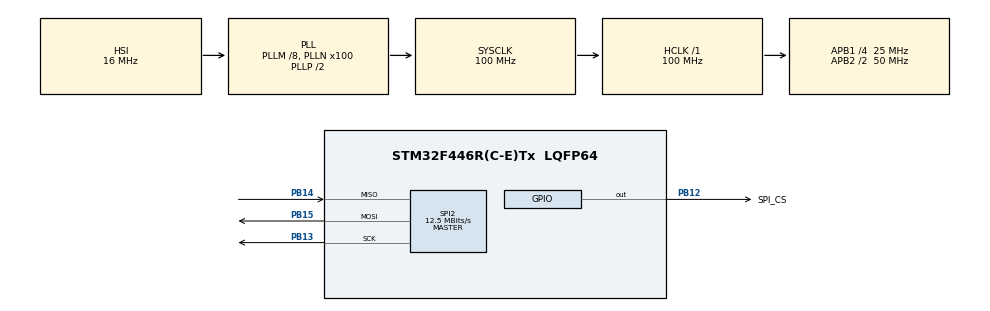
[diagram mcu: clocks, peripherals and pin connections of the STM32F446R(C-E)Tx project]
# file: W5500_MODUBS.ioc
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Mcu.Family=STM32F4
Mcu.Name=STM32F446R(C-E)Tx
Mcu.Package=LQFP64
NVIC.PriorityGroup=NVIC_PRIORITYGROUP_4
PA13.Mode=Serial_Wire
PA13.Signal=SYS_JTMS-SWDIO
PA14.Mode=Serial_Wire
PA14.Signal=SYS_JTCK-SWCLK
PB12.GPIO_Label=SPI_CS
PB12.Signal=GPIO_Output
PB13.Mode=Full_Duplex_Master
PB13.Signal=SPI2_SCK
PB14.Mode=Full_Duplex_Master
PB14.Signal=SPI2_MISO
PB15.Mode=Full_Duplex_Master
PB15.Signal=SPI2_MOSI
PH0-OSC_IN.Mode=HSE-External-Oscillator
PH0-OSC_IN.Signal=RCC_OSC_IN
PH1-OSC_OUT.Mode=HSE-External-Oscillator
PH1-OSC_OUT.Signal=RCC_OSC_OUT
ProjectManager.HeapSize=0x200
ProjectManager.StackSize=0x400
ProjectManager.TargetToolchain=STM32CubeIDE
RCC.AHBFreq_Value=100000000
RCC.APB1CLKDivider=RCC_HCLK_DIV4
RCC.APB1Freq_Value=25000000
RCC.APB1TimFreq_Value=50000000
RCC.APB2CLKDivider=RCC_HCLK_DIV2
RCC.APB2Freq_Value=50000000
RCC.APB2TimFreq_Value=100000000
RCC.CortexFreq_Value=100000000
RCC.HCLKFreq_Value=100000000
RCC.HSE_VALUE=8000000
RCC.PLLM=8
RCC.PLLN=100
RCC.SYSCLKFreq_VALUE=100000000
RCC.SYSCLKSource=RCC_SYSCLKSOURCE_PLLCLK
RCC.USBFreq_Value=100000000
RCC.VCOOutputFreq_Value=200000000
SPI2.CalculateBaudRate=12.5 MBits/s
SPI2.Direction=SPI_DIRECTION_2LINES
SPI2.Mode=SPI_MODE_MASTER
SPI2.VirtualType=VM_MASTER
board=custom

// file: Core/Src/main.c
/* USER CODE BEGIN Header */
/**
  ******************************************************************************
  * @file           : main.c
  * @brief          : Main program body
  ******************************************************************************
  * @attention
  *
  * Copyright (c) 2023 STMicroelectronics.
  * All rights reserved.
  *
  * This software is licensed under terms that can be found in the LICENSE file
  * in the root directory of this software component.
  * If no LICENSE file comes with this software, it is provided AS-IS.
  *
  ******************************************************************************
  */
/* USER CODE END Header */
#include "main.h"

/* USER CODE BEGIN Includes */
#include "stdlib.h"
#include "stdio.h"
#include "string.h"
/* USER CODE END Includes */

/* USER CODE BEGIN PTD */
#include "socket.h"
#include "wizchip_conf.h"

/* USER CODE END PTD */

 SPI_HandleTypeDef hspi2;

void SystemClock_Config(void);
static void MX_GPIO_Init(void);
static void MX_SPI2_Init(void);

/* USER CODE BEGIN 0 */
static void Eth_network_init(void)
{
	//printf("wizchip_sw_reset W5500 ");
	//wizchip_sw_reset();
	//delay(1000);
	uint8_t memsize[2][8] = {{16,0,0,0,0,0,0,0},{16,0,0,0,0,0,0,0}};
	if(ctlwizchip(CW_INIT_WIZCHIP,(void*)memsize) == -1)
	{
       printf("WIZCHIP Initialized memmory fail.\r\n");
	}
	printf("WIZCHIP Initialized memmory done.\r\n");
    wiz_NetInfo gWIZNETINFO = { .mac = {0x00, 0x08, 0xdc,0x00, 0xab, 0xcd},
                            .ip = {192, 168, 1,2},
                            .sn = {255,255,255,0},
                            .gw = {192, 168, 1, 108},
                            .dns = {0,0,0,0},
                            .dhcp = NETINFO_STATIC };
    gWIZNETINFO.ip[3]=123;
    printf("gWIZNETINFO.ip[3]:%d\n",gWIZNETINFO.ip[3]);
    uint8_t tmpstr[6];
	ctlnetwork(CN_SET_NETINFO, (void*)&gWIZNETINFO);

	gWIZNETINFO.ip[3]=0;
	ctlnetwork(CN_GET_NETINFO, (void*)&gWIZNETINFO);

	wiz_NetTimeout gWIZNETTIME = {.retry_cnt = 6,         //RCR = 3
                               .time_100us = 3000};     //RTR = 2000
	ctlnetwork(CN_SET_TIMEOUT,(void*)&gWIZNETTIME);

	// Display Network Information
	ctlwizchip(CW_GET_ID,(void*)tmpstr);
	printf("\r\n=== %s NET CONF ===\r\n",(char*)tmpstr);
	printf("MAC: %02X:%02X:%02X:%02X:%02X:%02X\r\n",gWIZNETINFO.mac[0],gWIZNETINFO.mac[1],gWIZNETINFO.mac[2],
		  gWIZNETINFO.mac[3],gWIZNETINFO.mac[4],gWIZNETINFO.mac[5]);
	printf("SIP: %d.%d.%d.%d\r\n", gWIZNETINFO.ip[0],gWIZNETINFO.ip[1],gWIZNETINFO.ip[2],gWIZNETINFO.ip[3]);
	printf("GAR: %d.%d.%d.%d\r\n", gWIZNETINFO.gw[0],gWIZNETINFO.gw[1],gWIZNETINFO.gw[2],gWIZNETINFO.gw[3]);
	printf("SUB: %d.%d.%d.%d\r\n", gWIZNETINFO.sn[0],gWIZNETINFO.sn[1],gWIZNETINFO.sn[2],gWIZNETINFO.sn[3]);
	printf("DNS: %d.%d.%d.%d\r\n", gWIZNETINFO.dns[0],gWIZNETINFO.dns[1],gWIZNETINFO.dns[2],gWIZNETINFO.dns[3]);
	printf("======================\r\n");
}

void  wizchip_select(void)
{
   HAL_GPIO_WritePin(SPI_CS_GPIO_Port, SPI_CS_Pin, GPIO_PIN_RESET);
}

void  wizchip_deselect(void)
{
	HAL_GPIO_WritePin(SPI_CS_GPIO_Port, SPI_CS_Pin, GPIO_PIN_SET);
}

void  wizchip_write(uint8_t wb)
{
	HAL_SPI_Transmit(&hspi2, &wb, 1, 1000);
}

uint8_t wizchip_read(void)
{
	uint8_t buf[2];
	HAL_SPI_TransmitReceive(&hspi2, &buf[0],  &buf[1], 1, 100);
    return buf[1];
}

void SPI_read_bus(uint8_t* pBuf, uint16_t len)
{

	uint8_t *p = (uint8_t *)malloc(len);
	HAL_SPI_TransmitReceive(&hspi2, p,  pBuf, 1, len);
	free(p);
}
void SPI_Write_bus(uint8_t* pBuf, uint16_t len)
{
	HAL_SPI_Transmit(&hspi2, pBuf, len, 1000);
}

// These vars will contain the hash
void Spi_Ethernet_Init(void)
{
    //Ethernet_chipcs_Init();
    reg_wizchip_cs_cbfunc(wizchip_select, wizchip_deselect);
	reg_wizchip_spi_cbfunc(wizchip_read, wizchip_write);
	reg_wizchip_spiburst_cbfunc(SPI_read_bus,SPI_Write_bus);
	Eth_network_init();
}

uint8_t PC_addr[4] = {192,168,1,108};
void Test_Ethernet()
{
	int socketID = socket(0,Sn_MR_TCP,50612, 0);
	if(socketID >=0 )
	{
		int cn = connect(socketID,PC_addr,54321);
		if(cn == SOCK_OK )
		{
			 int len = send(0,(uint8_t *)"hello world\n",strlen("hello world\n"));
		}
	}
	close(socketID);
}

/* USER CODE END 0 */

int main(void)
{

  /* MCU Configuration--------------------------------------------------------*/

  /* Reset of all peripherals, Initializes the Flash interface and the Systick. */
  HAL_Init();

  /* Configure the system clock */
  SystemClock_Config();

  /* Initialize all configured peripherals */
  MX_GPIO_Init();
  MX_SPI2_Init();
  /* USER CODE BEGIN 2 */
  HAL_Delay(1000);
  Spi_Ethernet_Init();
  /* USER CODE END 2 */

  /* Infinite loop */
  /* USER CODE BEGIN WHILE */
  while (1)
  {
	  Test_Ethernet();
	  HAL_Delay(1000);
    /* USER CODE END WHILE */

  }
}

void SystemClock_Config(void)
{
  RCC_OscInitTypeDef RCC_OscInitStruct = {0};
  RCC_ClkInitTypeDef RCC_ClkInitStruct = {0};

  /** Configure the main internal regulator output voltage
  */
  __HAL_RCC_PWR_CLK_ENABLE();
  __HAL_PWR_VOLTAGESCALING_CONFIG(PWR_REGULATOR_VOLTAGE_SCALE3);

  /** Initializes the RCC Oscillators according to the specified parameters
  * in the RCC_OscInitTypeDef structure.
  */
  RCC_OscInitStruct.OscillatorType = RCC_OSCILLATORTYPE_HSI;
  RCC_OscInitStruct.HSIState = RCC_HSI_ON;
  RCC_OscInitStruct.HSICalibrationValue = RCC_HSICALIBRATION_DEFAULT;
  RCC_OscInitStruct.PLL.PLLState = RCC_PLL_ON;
  RCC_OscInitStruct.PLL.PLLSource = RCC_PLLSOURCE_HSI;
  RCC_OscInitStruct.PLL.PLLM = 8;
  RCC_OscInitStruct.PLL.PLLN = 100;
  RCC_OscInitStruct.PLL.PLLP = RCC_PLLP_DIV2;
  RCC_OscInitStruct.PLL.PLLQ = 2;
  RCC_OscInitStruct.PLL.PLLR = 2;
  if (HAL_RCC_OscConfig(&RCC_OscInitStruct) != HAL_OK)
  {
    Error_Handler();
  }

  /** Initializes the CPU, AHB and APB buses clocks
  */
  RCC_ClkInitStruct.ClockType = RCC_CLOCKTYPE_HCLK|RCC_CLOCKTYPE_SYSCLK
                              |RCC_CLOCKTYPE_PCLK1|RCC_CLOCKTYPE_PCLK2;
  RCC_ClkInitStruct.SYSCLKSource = RCC_SYSCLKSOURCE_PLLCLK;
  RCC_ClkInitStruct.AHBCLKDivider = RCC_SYSCLK_DIV1;
  RCC_ClkInitStruct.APB1CLKDivider = RCC_HCLK_DIV4;
  RCC_ClkInitStruct.APB2CLKDivider = RCC_HCLK_DIV2;

  if (HAL_RCC_ClockConfig(&RCC_ClkInitStruct, FLASH_LATENCY_3) != HAL_OK)
  {
    Error_Handler();
  }
}

static void MX_SPI2_Init(void)
{

  /* SPI2 parameter configuration*/
  hspi2.Instance = SPI2;
  hspi2.Init.Mode = SPI_MODE_MASTER;
  hspi2.Init.Direction = SPI_DIRECTION_2LINES;
  hspi2.Init.DataSize = SPI_DATASIZE_8BIT;
  hspi2.Init.CLKPolarity = SPI_POLARITY_LOW;
  hspi2.Init.CLKPhase = SPI_PHASE_1EDGE;
  hspi2.Init.NSS = SPI_NSS_SOFT;
  hspi2.Init.BaudRatePrescaler = SPI_BAUDRATEPRESCALER_2;
  hspi2.Init.FirstBit = SPI_FIRSTBIT_MSB;
  hspi2.Init.TIMode = SPI_TIMODE_DISABLE;
  hspi2.Init.CRCCalculation = SPI_CRCCALCULATION_DISABLE;
  hspi2.Init.CRCPolynomial = 10;
  if (HAL_SPI_Init(&hspi2) != HAL_OK)
  {
    Error_Handler();
  }

}

static void MX_GPIO_Init(void)
{
  GPIO_InitTypeDef GPIO_InitStruct = {0};

  /* GPIO Ports Clock Enable */
  __HAL_RCC_GPIOH_CLK_ENABLE();
  __HAL_RCC_GPIOB_CLK_ENABLE();
  __HAL_RCC_GPIOA_CLK_ENABLE();

  /*Configure GPIO pin Output Level */
  HAL_GPIO_WritePin(GPIOB, GPIO_PIN_12, GPIO_PIN_RESET);

  /*Configure GPIO pin : PB12 */
  GPIO_InitStruct.Pin = GPIO_PIN_12;
  GPIO_InitStruct.Mode = GPIO_MODE_OUTPUT_PP;
  GPIO_InitStruct.Pull = GPIO_NOPULL;
  GPIO_InitStruct.Speed = GPIO_SPEED_FREQ_LOW;
  HAL_GPIO_Init(GPIOB, &GPIO_InitStruct);

}

void Error_Handler(void)
{
  __disable_irq();
  while (1)
  {
  }
}
